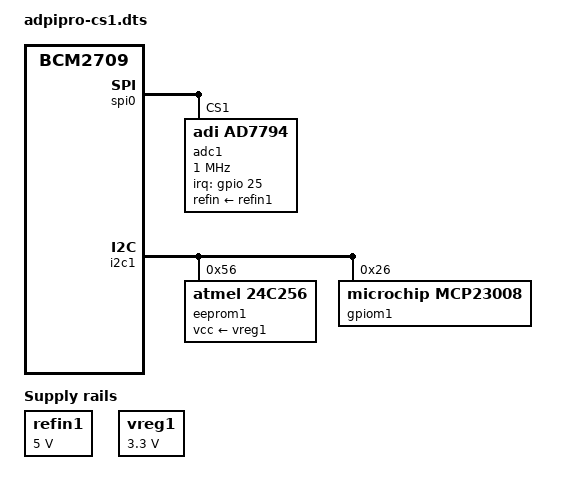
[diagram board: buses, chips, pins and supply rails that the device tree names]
/dts-v1/;
/plugin/;

/ {
	compatible = "brcm,bcm2835", "brcm,bcm2836", "brcm,bcm2708", "brcm,bcm2709";

	fragment@0 {
		target-path = "/";
		__overlay__ {
			refin1: fixedregulator_5v0_refin1 {
				compatible = "regulator-fixed";
				regulator-name = "max6126-adpi1";
				regulator-min-microvolt = <5000000>;
				regulator-max-microvolt = <5000000>;
				regulator-always-on;
				regulator-boot-on;
			};
			vreg1: fixedregulator_3v3_vcc1 {
				compatible = "regulator-fixed";
				regulator-name = "lp2992-adpi1";
				regulator-min-microvolt = <3300000>;
				regulator-max-microvolt = <3300000>;
				regulator-always-on;
				regulator-boot-on;
			};
		};
	};
	
	fragment@1 {
		target = <&spi0>;
		__overlay__ {
			status = "okay";
		};
	};
	
	fragment@2 {
		target = <&spidev0>;
		__overlay__ {
			status = "disabled";
		};
	};
	
	fragment@3 {
		target = <&spidev1>;
		__overlay__ {
			status = "disabled";
		};
	};
	
	fragment@4 {
		target = <&gpio>;
		__overlay__ {
			ad7794_irq1: ad7794_pins25 {
				brcm,pins = <25>;
				brcm,function = <0>;
				brcm,pull = <0>;
			};
		};
	};
	
	fragment@5 {
		target = <&spi0>;
		__overlay__ {
			#address-cells = <1>;
			#size-cells = <0>;
			
			adc1: ad7794@1 {
				compatible = "adi,ad7794";
				reg = <1>;
				
				spi-max-frequency = <1000000>;
				spi-cpha;
				spi-cpol;
				interrupts = <25 0x02>;
				interrupt-parent = <&gpio>;
				
				adi,reference-select = <0>;
				refin-supply = <&refin1>;
			};
		};
	};
	
	fragment@6 {
		target = <&i2c1>;
		__overlay__ {
			status = "okay";
		};
	};
	
	fragment@7 {
		target = <&i2c1>;
		__overlay__ {
			#address-cells = <1>;
			#size-cells = <0>;
			
			eeprom1: at24c256@56 {
				compatible = "atmel,24c256";
				reg = <0x56>;
				
				pagesize = <256>;
				vcc-supply = <&vreg1>;
			};
		};
	};

	fragment@8 {
		target = <&i2c1>;
		__overlay__ {
			#address-cells = <1>;
			#size-cells = <0>;
			
			gpiom1: mcp23008@26 {
				compatible = "microchip,mcp23008";
				gpio-controller;
				#gpio-cells = <2>;
				reg = <0x26>;
				gpio-line-names = "adpipro1_ch0",
						  "adpipro1_ch1",
						  "adpipro1_ch2",
						  "adpipro1_ch3";
			};
		};
	};

	__overrides__ {
		eeprom = <&eeprom1>,"reg:0";
		gpio = <&gpiom1>,"reg:0";
		irq = <&ad7794_irq1>,"brcm,pins:0", <&adc1>,"interrupts:0";
	};
};

